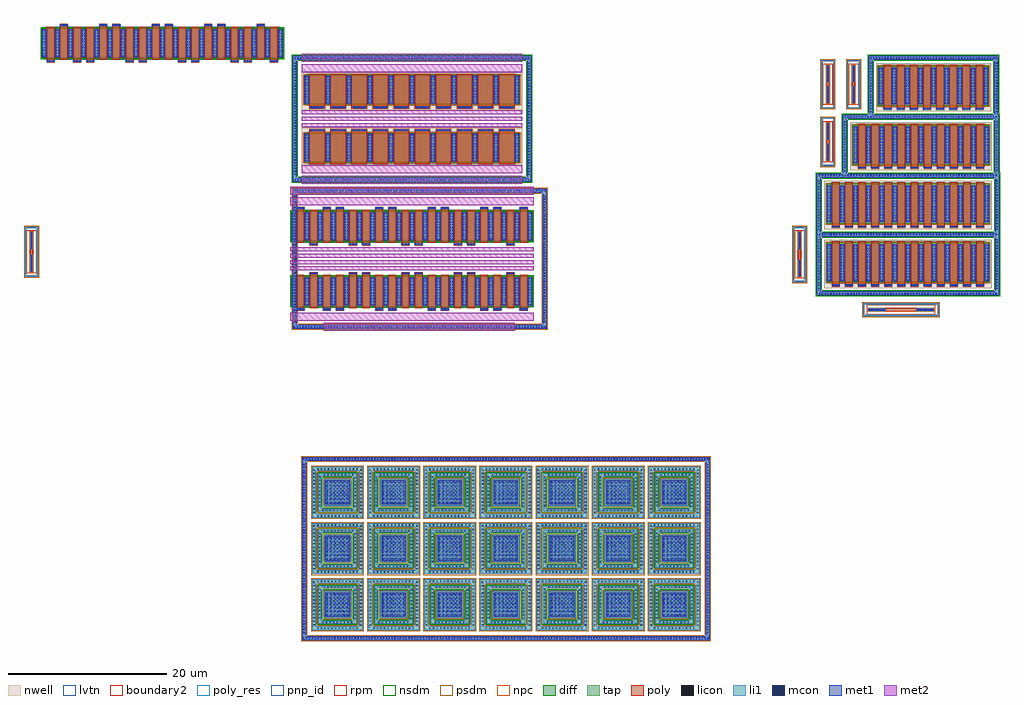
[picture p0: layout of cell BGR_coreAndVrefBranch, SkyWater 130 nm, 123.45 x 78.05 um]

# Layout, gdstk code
from math import pi, radians
import gdstk
lib = gdstk.Library(unit=1e-6, precision=5e-09)
def R(c, l, rs):  # rectangles x0, y0, x1, y1
    for r in rs: c.add(gdstk.rectangle(r[:2], r[2:], *l))
def A(c, l, x, y, w, h, nx, ny, dx, dy):  # array of equal rectangles
    R(c, l, [(x+i*dx, y+j*dy, x+i*dx+w, y+j*dy+h) for i in range(nx) for j in range(ny)])
def P(c, l, *ps):  # polygons
    for p in ps: c.add(gdstk.Polygon(p, *l))
nwell = (64, 20)
diff = (65, 20)
tap = (65, 44)
poly_res = (66, 13)
poly = (66, 20)
licon = (66, 44)
li1 = (67, 20)
mcon = (67, 44)
met1 = (68, 20)
met2 = (69, 20)
pnp_id = (82, 44)
rpm = (86, 20)
nsdm = (93, 44)
psdm = (94, 20)
npc = (95, 20)
lvtn = (125, 44)
boundary2 = (236, 0)

guard_ring_gen_2 = lib.new_cell('guard_ring_gen$2')
P(guard_ring_gen_2, tap, [(-0.5,-0.5),(-0.5,22.15),(0,22.15),(0,0),(50.55,0),(50.55,22.15),(-0.5,22.15),(-0.5,22.65),(51.05,22.65),(51.05,-0.5)])
A(guard_ring_gen_2, licon, -0.37, -0.335, 0.17, 0.17, 143, 2, 0.36, 22.65)
A(guard_ring_gen_2, licon, -0.335, 0.37, 0.17, 0.17, 1, 60, 0, 0.36)
A(guard_ring_gen_2, licon, 50.715, 0.37, 0.17, 0.17, 1, 60, 0, 0.36)
P(guard_ring_gen_2, li1, [(-0.5,-0.5),(-0.5,22.15),(0,22.15),(0,0),(50.55,0),(50.55,22.15),(-0.5,22.15),(-0.5,22.65),(51.05,22.65),(51.05,-0.5)])
A(guard_ring_gen_2, mcon, -0.37, -0.335, 0.17, 0.17, 143, 2, 0.36, 22.65)
A(guard_ring_gen_2, mcon, -0.335, 0.37, 0.17, 0.17, 1, 60, 0, 0.36)
A(guard_ring_gen_2, mcon, 50.715, 0.37, 0.17, 0.17, 1, 60, 0, 0.36)
P(guard_ring_gen_2, met1, [(-0.5,-0.5),(-0.5,22.15),(0,22.15),(0,0),(50.55,0),(50.55,22.15),(-0.5,22.15),(-0.5,22.65),(51.05,22.65),(51.05,-0.5)])
P(guard_ring_gen_2, psdm, [(-0.625,-0.625),(-0.625,22.025),(0.125,22.025),(0.125,0.125),(50.425,0.125),(50.425,22.025),(-0.625,22.025),(-0.625,22.775),(51.175,22.775),(51.175,-0.625)])

pfet_3 = lib.new_cell('pfet$3')
R(pfet_3, nwell, [(-0.305,-0.38,3.625,4.42)])
R(pfet_3, diff, [(0,0,3.32,3.7)])
R(pfet_3, poly, [(0.66,-0.2,2.66,3.9), (0.66,3.9,2.66,4.23)])
A(pfet_3, licon, 0.065, 0.145, 0.17, 0.17, 1, 10, 0, 0.36)
A(pfet_3, licon, 0.425, 0.145, 0.17, 0.17, 1, 10, 0, 0.36)
A(pfet_3, licon, 2.725, 0.145, 0.17, 0.17, 1, 10, 0, 0.36)
A(pfet_3, licon, 3.085, 0.145, 0.17, 0.17, 1, 10, 0, 0.36)
A(pfet_3, licon, 0.855, 3.98, 0.17, 0.17, 5, 1, 0.36, 0)
R(pfet_3, li1, [(0.065,0.065,0.595,3.635), (2.725,0.065,3.255,3.635), (0.775,3.98,2.545,4.15)])
A(pfet_3, mcon, 0.065, 0.145, 0.17, 0.17, 1, 10, 0, 0.36)
A(pfet_3, mcon, 0.425, 0.145, 0.17, 0.17, 1, 10, 0, 0.36)
A(pfet_3, mcon, 2.725, 0.145, 0.17, 0.17, 1, 10, 0, 0.36)
A(pfet_3, mcon, 3.085, 0.145, 0.17, 0.17, 1, 10, 0, 0.36)
A(pfet_3, mcon, 0.855, 3.98, 0.17, 0.17, 5, 1, 0.36, 0)
R(pfet_3, met1, [(0.035,0.085,0.625,3.615), (2.695,0.085,3.285,3.615), (0.795,3.95,2.525,4.18)])
R(pfet_3, psdm, [(-0.125,-0.125,3.445,3.825)])
R(pfet_3, npc, [(0.65,3.89,2.67,4.24)])
R(pfet_3, lvtn, [(0.48,-0.18,2.84,3.88)])

guard_ring_gen_5 = lib.new_cell('guard_ring_gen$5')
P(guard_ring_gen_5, tap, [(-0.5,-0.5),(-0.5,14.915),(0,14.915),(0,0),(29.12,0),(29.12,14.915),(-0.5,14.915),(-0.5,15.415),(29.62,15.415),(29.62,-0.5)])
A(guard_ring_gen_5, licon, -0.285, -0.335, 0.17, 0.17, 83, 2, 0.36, 15.415)
A(guard_ring_gen_5, licon, -0.335, 0.355, 0.17, 0.17, 1, 40, 0, 0.36)
A(guard_ring_gen_5, licon, 29.285, 0.355, 0.17, 0.17, 1, 40, 0, 0.36)
P(guard_ring_gen_5, li1, [(-0.5,-0.5),(-0.5,14.915),(0,14.915),(0,0),(29.12,0),(29.12,14.915),(-0.5,14.915),(-0.5,15.415),(29.62,15.415),(29.62,-0.5)])
A(guard_ring_gen_5, mcon, -0.285, -0.335, 0.17, 0.17, 83, 2, 0.36, 15.415)
A(guard_ring_gen_5, mcon, -0.335, 0.355, 0.17, 0.17, 1, 40, 0, 0.36)
A(guard_ring_gen_5, mcon, 29.285, 0.355, 0.17, 0.17, 1, 40, 0, 0.36)
P(guard_ring_gen_5, met1, [(-0.5,-0.5),(-0.5,14.915),(0,14.915),(0,0),(29.12,0),(29.12,14.915),(-0.5,14.915),(-0.5,15.415),(29.62,15.415),(29.62,-0.5)])
P(guard_ring_gen_5, nsdm, [(-0.625,-0.625),(-0.625,14.79),(0.125,14.79),(0.125,0.125),(28.995,0.125),(28.995,14.79),(-0.625,14.79),(-0.625,15.54),(29.745,15.54),(29.745,-0.625)])

pnp_bjt = lib.new_cell('pnp_bjt')
R(pnp_bjt, nwell, [(0.765,0.765,5.935,5.935)])
R(pnp_bjt, diff, [(1.65,1.65,5.05,5.05)])
P(pnp_bjt, tap, [(0.945,0.945),(0.945,5.755),(5.395,5.755),(5.395,5.395),(1.305,5.395),(1.305,1.305),(5.395,1.305),(5.395,5.755),(5.755,5.755),(5.755,0.945)],
  [(0.13,0.13),(0.13,6.57),(6.065,6.57),(6.065,6.065),(0.635,6.065),(0.635,0.635),(6.065,0.635),(6.065,6.57),(6.57,6.57),(6.57,0.13)])
A(pnp_bjt, licon, 0.78, 0.29, 0.17, 0.17, 12, 2, 0.45, 5.935)
A(pnp_bjt, licon, 0.3, 0.71, 0.17, 0.17, 1, 13, 0, 0.45)
A(pnp_bjt, licon, 6.235, 0.71, 0.17, 0.17, 1, 13, 0, 0.45)
A(pnp_bjt, licon, 1.43, 1.04, 0.17, 0.17, 9, 1, 0.45, 0)
A(pnp_bjt, licon, 5.49, 1.51, 0.17, 0.17, 1, 9, 0, 0.45)
A(pnp_bjt, licon, 1.04, 1.605, 0.17, 0.17, 1, 9, 0, 0.45)
A(pnp_bjt, licon, 1.92, 1.92, 0.17, 0.17, 7, 7, 0.45, 0.45)
A(pnp_bjt, licon, 1.6, 5.49, 0.17, 0.17, 9, 1, 0.45, 0)
A(pnp_bjt, li1, 0.58, 0.21, 0.33, 0.33, 12, 1, 0.45, 0)
A(pnp_bjt, li1, 0.675, 0.24, 0.27, 0.27, 11, 2, 0.5, 5.96)
A(pnp_bjt, li1, 6.16, 0.54, 0.33, 0.33, 1, 13, 0, 0.45)
A(pnp_bjt, li1, 0.22, 0.63, 0.33, 0.33, 1, 13, 0, 0.45)
A(pnp_bjt, li1, 1.35, 0.96, 0.33, 0.33, 9, 1, 0.45, 0)
A(pnp_bjt, li1, 1.14, 0.985, 0.27, 0.27, 9, 1, 0.5, 0)
A(pnp_bjt, li1, 5.41, 1.43, 0.33, 0.33, 1, 9, 0, 0.45)
A(pnp_bjt, li1, 0.96, 1.525, 0.33, 0.33, 1, 9, 0, 0.45)
A(pnp_bjt, li1, 1.84, 1.84, 0.33, 0.33, 7, 7, 0.45, 0.45)
A(pnp_bjt, li1, 1.93, 1.93, 0.27, 0.27, 6, 6, 0.5, 0.5)
A(pnp_bjt, li1, 1.52, 5.41, 0.33, 0.33, 9, 1, 0.45, 0)
A(pnp_bjt, li1, 1.155, 5.44, 0.27, 0.27, 9, 1, 0.5, 0)
A(pnp_bjt, li1, 0.7, 6.165, 0.33, 0.33, 12, 1, 0.45, 0)
R(pnp_bjt, li1, [(1.615,1.615,5.085,5.085), (1.65,1.65,5.05,5.05)])
P(pnp_bjt, li1, [(0.13,0.13),(0.13,6.57),(6.075,6.57),(6.075,6.075),(0.625,6.075),(0.625,0.625),(6.075,0.625),(6.075,6.57),(6.57,6.57),(6.57,0.13)],
  [(0.945,0.945),(0.945,5.755),(5.395,5.755),(5.395,5.395),(1.305,5.395),(1.305,1.305),(5.395,1.305),(5.395,5.755),(5.755,5.755),(5.755,0.945)])
A(pnp_bjt, mcon, 1.98, 1.98, 0.17, 0.17, 6, 6, 0.5, 0.5)
A(pnp_bjt, met1, 1.93, 1.93, 0.27, 0.27, 6, 6, 0.5, 0.5)
R(pnp_bjt, met1, [(1.825,1.825,4.875,4.875)])
R(pnp_bjt, pnp_id, [(0.135,0.135,6.565,6.565)])
P(pnp_bjt, nsdm, [(0.805,0.805),(0.805,5.895),(5.265,5.895),(5.265,5.265),(1.435,5.265),(1.435,1.435),(5.265,1.435),(5.265,5.895),(5.895,5.895),(5.895,0.805)])
R(pnp_bjt, psdm, [(1.52,1.52,5.18,5.18)])
P(pnp_bjt, psdm, [(0,0),(0,6.7),(5.935,6.7),(5.935,5.935),(0.765,5.935),(0.765,0.765),(5.935,0.765),(5.935,6.7),(6.7,6.7),(6.7,0)])
R(pnp_bjt, boundary2, [(0.13,0.13,6.57,6.57)])
pnp_bjt.add(gdstk.Label('Emitter', (3.39,3.39), layer=67, texttype=5))
pnp_bjt.add(gdstk.Label('Collector', (3.32,6.38), layer=67, texttype=5))
pnp_bjt.add(gdstk.Label('Base', (3.245,5.61), layer=67, texttype=5))

nfet = lib.new_cell('nfet')
R(nfet, diff, [(0,0,2.32,3.8)])
R(nfet, poly, [(0.66,-0.53,1.66,-0.2), (0.66,-0.2,1.66,4)])
A(nfet, licon, 0.715, -0.45, 0.17, 0.17, 3, 1, 0.36, 0)
A(nfet, licon, 0.065, 0.195, 0.17, 0.17, 1, 10, 0, 0.36)
A(nfet, licon, 0.425, 0.195, 0.17, 0.17, 1, 10, 0, 0.36)
A(nfet, licon, 1.725, 0.195, 0.17, 0.17, 1, 10, 0, 0.36)
A(nfet, licon, 2.085, 0.195, 0.17, 0.17, 1, 10, 0, 0.36)
R(nfet, li1, [(0.635,-0.45,1.685,-0.28), (0.065,0.115,0.595,3.685), (1.725,0.115,2.255,3.685)])
A(nfet, mcon, 0.715, -0.45, 0.17, 0.17, 3, 1, 0.36, 0)
A(nfet, mcon, 0.065, 0.195, 0.17, 0.17, 1, 10, 0, 0.36)
A(nfet, mcon, 0.425, 0.195, 0.17, 0.17, 1, 10, 0, 0.36)
A(nfet, mcon, 1.725, 0.195, 0.17, 0.17, 1, 10, 0, 0.36)
A(nfet, mcon, 2.085, 0.195, 0.17, 0.17, 1, 10, 0, 0.36)
R(nfet, met1, [(0.655,-0.48,1.665,-0.25), (0.035,0.135,0.625,3.665), (1.695,0.135,2.285,3.665)])
R(nfet, nsdm, [(-0.125,-0.125,2.445,3.925)])
R(nfet, npc, [(0.65,-0.54,1.67,-0.19)])
R(nfet, lvtn, [(0.48,-0.18,1.84,3.98)])

guard_ring_gen_10 = lib.new_cell('guard_ring_gen$10')
P(guard_ring_gen_10, tap, [(-0.5,-0.5),(-0.5,16.715),(0,16.715),(0,0),(31.09,0),(31.09,16.715),(-0.5,16.715),(-0.5,17.215),(31.59,17.215),(31.59,-0.5)])
A(guard_ring_gen_10, licon, -0.38, -0.335, 0.17, 0.17, 89, 2, 0.36, 17.215)
A(guard_ring_gen_10, licon, -0.335, 0.355, 0.17, 0.17, 1, 45, 0, 0.36)
A(guard_ring_gen_10, licon, 31.255, 0.355, 0.17, 0.17, 1, 45, 0, 0.36)
P(guard_ring_gen_10, li1, [(-0.5,-0.5),(-0.5,16.715),(0,16.715),(0,0),(31.09,0),(31.09,16.715),(-0.5,16.715),(-0.5,17.215),(31.59,17.215),(31.59,-0.5)])
A(guard_ring_gen_10, mcon, -0.38, -0.335, 0.17, 0.17, 89, 2, 0.36, 17.215)
A(guard_ring_gen_10, mcon, -0.335, 0.355, 0.17, 0.17, 1, 45, 0, 0.36)
A(guard_ring_gen_10, mcon, 31.255, 0.355, 0.17, 0.17, 1, 45, 0, 0.36)
P(guard_ring_gen_10, met1, [(-0.5,-0.5),(-0.5,16.715),(0,16.715),(0,0),(31.09,0),(31.09,16.715),(-0.5,16.715),(-0.5,17.215),(31.59,17.215),(31.59,-0.5)])
P(guard_ring_gen_10, psdm, [(-0.625,-0.625),(-0.625,16.59),(0.125,16.59),(0.125,0.125),(30.965,0.125),(30.965,16.59),(-0.625,16.59),(-0.625,17.34),(31.715,17.34),(31.715,-0.625)])

pfet = lib.new_cell('pfet')
R(pfet, nwell, [(-0.305,-0.38,2.625,5.72)])
R(pfet, diff, [(0,0,2.32,5)])
R(pfet, poly, [(0.66,-0.2,1.66,5.2), (0.66,5.2,1.66,5.53)])
A(pfet, licon, 0.065, 0.255, 0.17, 0.17, 1, 13, 0, 0.36)
A(pfet, licon, 0.425, 0.255, 0.17, 0.17, 1, 13, 0, 0.36)
A(pfet, licon, 1.725, 0.255, 0.17, 0.17, 1, 13, 0, 0.36)
A(pfet, licon, 2.085, 0.255, 0.17, 0.17, 1, 13, 0, 0.36)
A(pfet, licon, 0.715, 5.28, 0.17, 0.17, 3, 1, 0.36, 0)
R(pfet, li1, [(0.065,0.175,0.595,4.825), (1.725,0.175,2.255,4.825), (0.635,5.28,1.685,5.45)])
A(pfet, mcon, 0.065, 0.255, 0.17, 0.17, 1, 13, 0, 0.36)
A(pfet, mcon, 0.425, 0.255, 0.17, 0.17, 1, 13, 0, 0.36)
A(pfet, mcon, 1.725, 0.255, 0.17, 0.17, 1, 13, 0, 0.36)
A(pfet, mcon, 2.085, 0.255, 0.17, 0.17, 1, 13, 0, 0.36)
A(pfet, mcon, 0.715, 5.28, 0.17, 0.17, 3, 1, 0.36, 0)
R(pfet, met1, [(0.035,0.195,0.625,4.805), (1.695,0.195,2.285,4.805), (0.655,5.25,1.665,5.48)])
R(pfet, psdm, [(-0.125,-0.125,2.445,5.125)])
R(pfet, npc, [(0.65,5.19,1.67,5.54)])
R(pfet, lvtn, [(0.48,-0.18,1.84,5.18)])

guard_ring_gen_8 = lib.new_cell('guard_ring_gen$8')
P(guard_ring_gen_8, tap, [(-0.5,-0.5),(-0.5,6.95),(0,6.95),(0,0),(22.04,0),(22.04,6.95),(-0.5,6.95),(-0.5,7.45),(22.54,7.45),(22.54,-0.5)])
A(guard_ring_gen_8, licon, -0.225, -0.335, 0.17, 0.17, 63, 2, 0.36, 7.45)
A(guard_ring_gen_8, licon, -0.335, 0.33, 0.17, 0.17, 1, 18, 0, 0.36)
A(guard_ring_gen_8, licon, 22.205, 0.33, 0.17, 0.17, 1, 18, 0, 0.36)
P(guard_ring_gen_8, li1, [(-0.5,-0.5),(-0.5,6.95),(0,6.95),(0,0),(22.04,0),(22.04,6.95),(-0.5,6.95),(-0.5,7.45),(22.54,7.45),(22.54,-0.5)])
A(guard_ring_gen_8, mcon, -0.225, -0.335, 0.17, 0.17, 63, 2, 0.36, 7.45)
A(guard_ring_gen_8, mcon, -0.335, 0.33, 0.17, 0.17, 1, 18, 0, 0.36)
A(guard_ring_gen_8, mcon, 22.205, 0.33, 0.17, 0.17, 1, 18, 0, 0.36)
P(guard_ring_gen_8, met1, [(-0.5,-0.5),(-0.5,6.95),(0,6.95),(0,0),(22.04,0),(22.04,6.95),(-0.5,6.95),(-0.5,7.45),(22.54,7.45),(22.54,-0.5)])
P(guard_ring_gen_8, nsdm, [(-0.625,-0.625),(-0.625,6.825),(0.125,6.825),(0.125,0.125),(21.915,0.125),(21.915,6.825),(-0.625,6.825),(-0.625,7.575),(22.665,7.575),(22.665,-0.625)])

res_poly_3 = lib.new_cell('res_poly$3')
R(res_poly_3, tap, [(-0.825,-3.06,0.825,-2.89), (-0.825,-2.89,-0.655,2.89), (0.655,-2.89,0.825,2.89), (-0.825,2.89,0.825,3.06)])
R(res_poly_3, poly_res, [(-0.175,-0.31,0.175,0.31)])
R(res_poly_3, poly, [(-0.175,-2.41,0.175,2.41)])
A(res_poly_3, licon, -0.825, -2.295, 0.17, 0.17, 1, 14, 0, 0.34)
A(res_poly_3, licon, 0.655, -2.295, 0.17, 0.17, 1, 14, 0, 0.34)
R(res_poly_3, licon, [(-0.255,-3.06,-0.085,-2.89), (0.085,-3.06,0.255,-2.89), (-0.095,-2.33,0.095,-0.33), (-0.095,0.33,0.095,2.33), (-0.255,2.89,-0.085,3.06), (0.085,2.89,0.255,3.06)])
R(res_poly_3, li1, [(-0.825,-3.06,0.825,-2.89), (-0.825,-2.89,-0.655,2.89), (0.655,-2.89,0.825,2.89), (-0.175,-2.41,0.175,-0.25), (-0.175,0.25,0.175,2.41), (-0.825,2.89,0.825,3.06)])
A(res_poly_3, mcon, -0.085, -2.31, 0.17, 0.17, 1, 6, 0, 0.36)
A(res_poly_3, mcon, -0.085, 0.345, 0.17, 0.17, 1, 6, 0, 0.36)
R(res_poly_3, met1, [(-0.125,-2.38,0.125,-0.275), (-0.125,0.275,0.125,2.38)])
R(res_poly_3, rpm, [(-0.635,-2.61,0.635,2.61)])
R(res_poly_3, psdm, [(-0.95,-3.185,0.95,3.185)])
R(res_poly_3, npc, [(-0.27,-2.505,0.27,2.505)])

guard_ring_gen_4 = lib.new_cell('guard_ring_gen$4')
P(guard_ring_gen_4, tap, [(-0.5,-0.5),(-0.5,6.95),(0,6.95),(0,0),(15.4,0),(15.4,6.95),(-0.5,6.95),(-0.5,7.45),(15.9,7.45),(15.9,-0.5)])
A(guard_ring_gen_4, licon, -0.305, -0.335, 0.17, 0.17, 45, 2, 0.36, 7.45)
A(guard_ring_gen_4, licon, -0.335, 0.33, 0.17, 0.17, 1, 18, 0, 0.36)
A(guard_ring_gen_4, licon, 15.565, 0.33, 0.17, 0.17, 1, 18, 0, 0.36)
P(guard_ring_gen_4, li1, [(-0.5,-0.5),(-0.5,6.95),(0,6.95),(0,0),(15.4,0),(15.4,6.95),(-0.5,6.95),(-0.5,7.45),(15.9,7.45),(15.9,-0.5)])
A(guard_ring_gen_4, mcon, -0.305, -0.335, 0.17, 0.17, 45, 2, 0.36, 7.45)
A(guard_ring_gen_4, mcon, -0.335, 0.33, 0.17, 0.17, 1, 18, 0, 0.36)
A(guard_ring_gen_4, mcon, 15.565, 0.33, 0.17, 0.17, 1, 18, 0, 0.36)
P(guard_ring_gen_4, met1, [(-0.5,-0.5),(-0.5,6.95),(0,6.95),(0,0),(15.4,0),(15.4,6.95),(-0.5,6.95),(-0.5,7.45),(15.9,7.45),(15.9,-0.5)])
P(guard_ring_gen_4, nsdm, [(-0.625,-0.625),(-0.625,6.825),(0.125,6.825),(0.125,0.125),(15.275,0.125),(15.275,6.825),(-0.625,6.825),(-0.625,7.575),(16.025,7.575),(16.025,-0.625)])

guard_ring_gen = lib.new_cell('guard_ring_gen')
P(guard_ring_gen, tap, [(-0.5,-0.5),(-0.5,6.95),(0,6.95),(0,0),(18.72,0),(18.72,6.95),(-0.5,6.95),(-0.5,7.45),(19.22,7.45),(19.22,-0.5)])
A(guard_ring_gen, licon, -0.265, -0.335, 0.17, 0.17, 54, 2, 0.36, 7.45)
A(guard_ring_gen, licon, -0.335, 0.33, 0.17, 0.17, 1, 18, 0, 0.36)
A(guard_ring_gen, licon, 18.885, 0.33, 0.17, 0.17, 1, 18, 0, 0.36)
P(guard_ring_gen, li1, [(-0.5,-0.5),(-0.5,6.95),(0,6.95),(0,0),(18.72,0),(18.72,6.95),(-0.5,6.95),(-0.5,7.45),(19.22,7.45),(19.22,-0.5)])
A(guard_ring_gen, mcon, -0.265, -0.335, 0.17, 0.17, 54, 2, 0.36, 7.45)
A(guard_ring_gen, mcon, -0.335, 0.33, 0.17, 0.17, 1, 18, 0, 0.36)
A(guard_ring_gen, mcon, 18.885, 0.33, 0.17, 0.17, 1, 18, 0, 0.36)
P(guard_ring_gen, met1, [(-0.5,-0.5),(-0.5,6.95),(0,6.95),(0,0),(18.72,0),(18.72,6.95),(-0.5,6.95),(-0.5,7.45),(19.22,7.45),(19.22,-0.5)])
P(guard_ring_gen, nsdm, [(-0.625,-0.625),(-0.625,6.825),(0.125,6.825),(0.125,0.125),(18.595,0.125),(18.595,6.825),(-0.625,6.825),(-0.625,7.575),(19.345,7.575),(19.345,-0.625)])

res_poly_4 = lib.new_cell('res_poly$4')
R(res_poly_4, tap, [(-0.825,-4.8,0.825,-4.63), (-0.825,-4.63,-0.655,4.63), (0.655,-4.63,0.825,4.63), (-0.825,4.63,0.825,4.8)])
R(res_poly_4, poly_res, [(-0.175,-2.05,0.175,2.05)])
R(res_poly_4, poly, [(-0.175,-4.15,0.175,4.15)])
A(res_poly_4, licon, -0.825, -3.995, 0.17, 0.17, 1, 24, 0, 0.34)
A(res_poly_4, licon, 0.655, -3.995, 0.17, 0.17, 1, 24, 0, 0.34)
R(res_poly_4, licon, [(-0.255,-4.8,-0.085,-4.63), (0.085,-4.8,0.255,-4.63), (-0.095,-4.07,0.095,-2.07), (-0.095,2.07,0.095,4.07), (-0.255,4.63,-0.085,4.8), (0.085,4.63,0.255,4.8)])
R(res_poly_4, li1, [(-0.825,-4.8,0.825,-4.63), (-0.825,-4.63,-0.655,4.63), (0.655,-4.63,0.825,4.63), (-0.175,-4.15,0.175,-1.99), (-0.175,1.99,0.175,4.15), (-0.825,4.63,0.825,4.8)])
A(res_poly_4, mcon, -0.085, -4.05, 0.17, 0.17, 1, 6, 0, 0.36)
A(res_poly_4, mcon, -0.085, 2.085, 0.17, 0.17, 1, 6, 0, 0.36)
R(res_poly_4, met1, [(-0.125,-4.12,0.125,-2.015), (-0.125,2.015,0.125,4.12)])
R(res_poly_4, rpm, [(-0.635,-4.35,0.635,4.35)])
R(res_poly_4, psdm, [(-0.95,-4.925,0.95,4.925)])
R(res_poly_4, npc, [(-0.27,-4.245,0.27,4.245)])

nfet_1 = lib.new_cell('nfet$1')
R(nfet_1, diff, [(0,0,2.32,3.8)])
R(nfet_1, poly, [(0.66,-0.2,1.66,4), (0.66,4,1.66,4.33)])
A(nfet_1, licon, 0.065, 0.195, 0.17, 0.17, 1, 10, 0, 0.36)
A(nfet_1, licon, 0.425, 0.195, 0.17, 0.17, 1, 10, 0, 0.36)
A(nfet_1, licon, 1.725, 0.195, 0.17, 0.17, 1, 10, 0, 0.36)
A(nfet_1, licon, 2.085, 0.195, 0.17, 0.17, 1, 10, 0, 0.36)
A(nfet_1, licon, 0.715, 4.08, 0.17, 0.17, 3, 1, 0.36, 0)
R(nfet_1, li1, [(0.065,0.115,0.595,3.685), (1.725,0.115,2.255,3.685), (0.635,4.08,1.685,4.25)])
A(nfet_1, mcon, 0.065, 0.195, 0.17, 0.17, 1, 10, 0, 0.36)
A(nfet_1, mcon, 0.425, 0.195, 0.17, 0.17, 1, 10, 0, 0.36)
A(nfet_1, mcon, 1.725, 0.195, 0.17, 0.17, 1, 10, 0, 0.36)
A(nfet_1, mcon, 2.085, 0.195, 0.17, 0.17, 1, 10, 0, 0.36)
A(nfet_1, mcon, 0.715, 4.08, 0.17, 0.17, 3, 1, 0.36, 0)
R(nfet_1, met1, [(0.035,0.135,0.625,3.665), (1.695,0.135,2.285,3.665), (0.655,4.05,1.665,4.28)])
R(nfet_1, nsdm, [(-0.125,-0.125,2.445,3.925)])
R(nfet_1, npc, [(0.65,3.99,1.67,4.34)])
R(nfet_1, lvtn, [(0.48,-0.18,1.84,3.98)])

res_poly = lib.new_cell('res_poly')
R(res_poly, tap, [(-0.825,-3.49,0.825,-3.32), (-0.825,-3.32,-0.655,3.32), (0.655,-3.32,0.825,3.32), (-0.825,3.32,0.825,3.49)])
R(res_poly, poly_res, [(-0.175,-0.74,0.175,0.74)])
R(res_poly, poly, [(-0.175,-2.84,0.175,2.84)])
A(res_poly, licon, -0.825, -2.635, 0.17, 0.17, 1, 16, 0, 0.34)
A(res_poly, licon, 0.655, -2.635, 0.17, 0.17, 1, 16, 0, 0.34)
R(res_poly, licon, [(-0.255,-3.49,-0.085,-3.32), (0.085,-3.49,0.255,-3.32), (-0.095,-2.76,0.095,-0.76), (-0.095,0.76,0.095,2.76), (-0.255,3.32,-0.085,3.49), (0.085,3.32,0.255,3.49)])
R(res_poly, li1, [(-0.825,-3.49,0.825,-3.32), (-0.825,-3.32,-0.655,3.32), (0.655,-3.32,0.825,3.32), (-0.175,-2.84,0.175,-0.68), (-0.175,0.68,0.175,2.84), (-0.825,3.32,0.825,3.49)])
A(res_poly, mcon, -0.085, -2.74, 0.17, 0.17, 1, 6, 0, 0.36)
A(res_poly, mcon, -0.085, 0.775, 0.17, 0.17, 1, 6, 0, 0.36)
R(res_poly, met1, [(-0.125,-2.81,0.125,-0.705), (-0.125,0.705,0.125,2.81)])
R(res_poly, rpm, [(-0.635,-3.04,0.635,3.04)])
R(res_poly, psdm, [(-0.95,-3.615,0.95,3.615)])
R(res_poly, npc, [(-0.27,-2.935,0.27,2.935)])

res_poly_6 = lib.new_cell('res_poly$6')
R(res_poly_6, tap, [(-0.825,-3.16,0.825,-2.99), (-0.825,-2.99,-0.655,2.99), (0.655,-2.99,0.825,2.99), (-0.825,2.99,0.825,3.16)])
R(res_poly_6, poly_res, [(-0.175,-0.41,0.175,0.41)])
R(res_poly_6, poly, [(-0.175,-2.51,0.175,2.51)])
A(res_poly_6, licon, -0.825, -2.295, 0.17, 0.17, 1, 14, 0, 0.34)
A(res_poly_6, licon, 0.655, -2.295, 0.17, 0.17, 1, 14, 0, 0.34)
R(res_poly_6, licon, [(-0.255,-3.16,-0.085,-2.99), (0.085,-3.16,0.255,-2.99), (-0.095,-2.43,0.095,-0.43), (-0.095,0.43,0.095,2.43), (-0.255,2.99,-0.085,3.16), (0.085,2.99,0.255,3.16)])
R(res_poly_6, li1, [(-0.825,-3.16,0.825,-2.99), (-0.825,-2.99,-0.655,2.99), (0.655,-2.99,0.825,2.99), (-0.175,-2.51,0.175,-0.35), (-0.175,0.35,0.175,2.51), (-0.825,2.99,0.825,3.16)])
A(res_poly_6, mcon, -0.085, -2.41, 0.17, 0.17, 1, 6, 0, 0.36)
A(res_poly_6, mcon, -0.085, 0.445, 0.17, 0.17, 1, 6, 0, 0.36)
R(res_poly_6, met1, [(-0.125,-2.48,0.125,-0.375), (-0.125,0.375,0.125,2.48)])
R(res_poly_6, rpm, [(-0.635,-2.71,0.635,2.71)])
R(res_poly_6, psdm, [(-0.95,-3.285,0.95,3.285)])
R(res_poly_6, npc, [(-0.27,-2.605,0.27,2.605)])

bgr_coreandvrefbranch = lib.new_cell('BGR_coreAndVrefBranch')
A(bgr_coreandvrefbranch, lvtn, 141.13, 161.245, 12.98, 5.36, 1, 3, 0, 7.45)
A(bgr_coreandvrefbranch, lvtn, 147.77, 161.245, 6.34, 5.36, 1, 3, 0, 7.45)
R(bgr_coreandvrefbranch, lvtn, [(66.79,158.2,96.37,162.36), (134.49,161.245,154.11,166.605), (66.79,166.455,96.37,170.615), (134.49,168.695,154.11,174.055), (137.81,176.145,154.11,181.505), (68.42,176.415,94.72,180.475), (141.05,183.595,154.03,188.955), (147.69,183.595,154.03,188.955), (68.42,183.77,94.72,187.83), (35.21,189.595,64.79,193.755)])
bgr_coreandvrefbranch.add(gdstk.FlexPath([(96.965,171.715),(66.185,171.715)], 1, ends="flush", simple_path=True, layer=69, datatype=20))  # met2
bgr_coreandvrefbranch.add(gdstk.FlexPath([(96.975,165.605),(66.185,165.605)], 0.5, ends="flush", simple_path=True, layer=69, datatype=20))  # met2
bgr_coreandvrefbranch.add(gdstk.FlexPath([(96.975,164.805),(66.175,164.805)], 0.5, ends="flush", simple_path=True, layer=69, datatype=20))  # met2
bgr_coreandvrefbranch.add(gdstk.FlexPath([(96.975,164.005),(66.175,164.005)], 0.5, ends="flush", simple_path=True, layer=69, datatype=20))  # met2
bgr_coreandvrefbranch.add(gdstk.FlexPath([(96.985,163.21),(66.175,163.21)], 0.5, ends="flush", simple_path=True, layer=69, datatype=20))  # met2
bgr_coreandvrefbranch.add(gdstk.FlexPath([(96.975,157.1),(66.185,157.1)], 1, ends="flush", simple_path=True, layer=69, datatype=20))  # met2
bgr_coreandvrefbranch.add(gdstk.FlexPath([(96.965,173.015),(66.185,173.015)], 1, ends="flush", simple_path=True, layer=69, datatype=20))  # met2
bgr_coreandvrefbranch.add(gdstk.FlexPath([(94.565,155.8),(70.41,155.8)], 1, ends="flush", simple_path=True, layer=69, datatype=20))  # met2
bgr_coreandvrefbranch.add(gdstk.FlexPath([(95.505,182.925),(67.635,182.925)], 0.5, ends="flush", simple_path=True, layer=69, datatype=20))  # met2
bgr_coreandvrefbranch.add(gdstk.FlexPath([(95.505,182.125),(67.635,182.125)], 0.5, ends="flush", simple_path=True, layer=69, datatype=20))  # met2
bgr_coreandvrefbranch.add(gdstk.FlexPath([(95.505,175.715),(67.635,175.715)], 1, ends="flush", simple_path=True, layer=69, datatype=20))  # met2
bgr_coreandvrefbranch.add(gdstk.FlexPath([(95.505,181.325),(67.635,181.325)], 0.5, ends="flush", simple_path=True, layer=69, datatype=20))  # met2
bgr_coreandvrefbranch.add(gdstk.FlexPath([(95.505,174.415),(67.635,174.415)], 1, ends="flush", simple_path=True, layer=69, datatype=20))  # met2
bgr_coreandvrefbranch.add(gdstk.FlexPath([(95.505,188.53),(67.635,188.53)], 1, ends="flush", simple_path=True, layer=69, datatype=20))  # met2
bgr_coreandvrefbranch.add(gdstk.FlexPath([(95.505,189.83),(67.635,189.83)], 1, ends="flush", simple_path=True, layer=69, datatype=20))  # met2
bgr_coreandvrefbranch.add(gdstk.Reference(guard_ring_gen_2, (68.175,116.695)))
bgr_coreandvrefbranch.add(gdstk.Reference(pfet_3, (91.88,176.595)))
bgr_coreandvrefbranch.add(gdstk.Reference(pfet_3, (91.88,187.65), x_reflection=True))
bgr_coreandvrefbranch.add(gdstk.Reference(guard_ring_gen_5, (67.01,174.665)))
bgr_coreandvrefbranch.add(gdstk.Reference(pnp_bjt, (90.1,131.52)))
bgr_coreandvrefbranch.add(gdstk.Reference(pnp_bjt, (90.1,117.32)))
bgr_coreandvrefbranch.add(gdstk.Reference(pnp_bjt, (90.1,124.42)))
bgr_coreandvrefbranch.add(gdstk.Reference(nfet, (92.87,166.635)))
bgr_coreandvrefbranch.add(gdstk.Reference(nfet, (92.87,162.18), x_reflection=True))
bgr_coreandvrefbranch.add(gdstk.Reference(guard_ring_gen_10, (67.01,156.05)))
bgr_coreandvrefbranch.add(gdstk.Reference(pfet, (139.65,166.425), rotation=pi))
bgr_coreandvrefbranch.add(gdstk.Reference(pfet, (141.31,166.425), rotation=pi))
bgr_coreandvrefbranch.add(gdstk.Reference(pfet, (146.29,166.425), rotation=pi))
bgr_coreandvrefbranch.add(gdstk.Reference(pfet, (154.59,166.425), rotation=pi))
bgr_coreandvrefbranch.add(gdstk.Reference(pfet, (152.93,166.425), rotation=pi))
bgr_coreandvrefbranch.add(gdstk.Reference(pfet, (151.27,166.425), rotation=pi))
bgr_coreandvrefbranch.add(gdstk.Reference(pfet, (147.95,166.425), rotation=pi))
bgr_coreandvrefbranch.add(gdstk.Reference(pfet, (149.61,166.425), rotation=pi))
bgr_coreandvrefbranch.add(gdstk.Reference(pfet, (142.97,166.425), rotation=pi))
bgr_coreandvrefbranch.add(gdstk.Reference(pfet, (144.63,166.425), rotation=pi))
bgr_coreandvrefbranch.add(gdstk.Reference(guard_ring_gen_8, (155.32,160.28), rotation=pi, x_reflection=True))
bgr_coreandvrefbranch.add(gdstk.Reference(pfet, (146.21,188.775), rotation=pi))
bgr_coreandvrefbranch.add(gdstk.Reference(pfet, (147.87,188.775), rotation=pi))
bgr_coreandvrefbranch.add(gdstk.Reference(res_poly_3, (134.185,179.21)))
bgr_coreandvrefbranch.add(gdstk.Reference(pfet, (152.85,188.775), rotation=pi))
bgr_coreandvrefbranch.add(gdstk.Reference(pfet, (154.51,188.775), rotation=pi))
bgr_coreandvrefbranch.add(gdstk.Reference(pfet, (151.19,188.775), rotation=pi))
bgr_coreandvrefbranch.add(gdstk.Reference(guard_ring_gen_4, (155.24,182.63), rotation=pi, x_reflection=True))
bgr_coreandvrefbranch.add(gdstk.Reference(res_poly_3, (134.185,186.485)))
bgr_coreandvrefbranch.add(gdstk.Reference(res_poly_3, (137.42,186.485)))
bgr_coreandvrefbranch.add(gdstk.Reference(pfet, (149.53,188.775), rotation=pi))
bgr_coreandvrefbranch.add(gdstk.Reference(pfet, (142.89,188.775), rotation=pi))
bgr_coreandvrefbranch.add(gdstk.Reference(pfet, (152.93,173.875), rotation=pi))
bgr_coreandvrefbranch.add(gdstk.Reference(pfet, (151.27,173.875), rotation=pi))
bgr_coreandvrefbranch.add(gdstk.Reference(pfet, (147.95,173.875), rotation=pi))
bgr_coreandvrefbranch.add(gdstk.Reference(pfet, (149.61,173.875), rotation=pi))
bgr_coreandvrefbranch.add(gdstk.Reference(pfet, (142.97,173.875), rotation=pi))
bgr_coreandvrefbranch.add(gdstk.Reference(pfet, (144.63,173.875), rotation=pi))
bgr_coreandvrefbranch.add(gdstk.Reference(pfet, (137.99,173.875), rotation=pi))
bgr_coreandvrefbranch.add(gdstk.Reference(pfet, (136.33,173.875), rotation=pi))
bgr_coreandvrefbranch.add(gdstk.Reference(pfet, (139.65,173.875), rotation=pi))
bgr_coreandvrefbranch.add(gdstk.Reference(pfet, (141.31,173.875), rotation=pi))
bgr_coreandvrefbranch.add(gdstk.Reference(pfet, (146.29,173.875), rotation=pi))
bgr_coreandvrefbranch.add(gdstk.Reference(pfet, (154.59,173.875), rotation=pi))
bgr_coreandvrefbranch.add(gdstk.Reference(guard_ring_gen_8, (155.32,167.73), rotation=pi, x_reflection=True))
bgr_coreandvrefbranch.add(gdstk.Reference(pfet, (154.59,181.325), rotation=pi))
bgr_coreandvrefbranch.add(gdstk.Reference(pfet, (141.31,181.325), rotation=pi))
bgr_coreandvrefbranch.add(gdstk.Reference(pfet, (139.65,181.325), rotation=pi))
bgr_coreandvrefbranch.add(gdstk.Reference(pfet, (149.61,181.325), rotation=pi))
bgr_coreandvrefbranch.add(gdstk.Reference(pfet, (142.97,181.325), rotation=pi))
bgr_coreandvrefbranch.add(gdstk.Reference(pfet, (144.63,181.325), rotation=pi))
bgr_coreandvrefbranch.add(gdstk.Reference(pfet, (146.29,181.325), rotation=pi))
bgr_coreandvrefbranch.add(gdstk.Reference(pfet, (147.95,181.325), rotation=pi))
bgr_coreandvrefbranch.add(gdstk.Reference(pfet, (152.93,181.325), rotation=pi))
bgr_coreandvrefbranch.add(gdstk.Reference(pfet, (151.27,181.325), rotation=pi))
bgr_coreandvrefbranch.add(gdstk.Reference(guard_ring_gen, (155.28,175.18), rotation=pi, x_reflection=True))
bgr_coreandvrefbranch.add(gdstk.Reference(pfet, (144.55,188.775), rotation=pi))
bgr_coreandvrefbranch.add(gdstk.Reference(res_poly_4, (143.42,157.975), rotation=pi/2, x_reflection=True))
bgr_coreandvrefbranch.add(gdstk.Reference(pfet, (137.99,166.425), rotation=pi))
bgr_coreandvrefbranch.add(gdstk.Reference(nfet_1, (94.53,166.635)))
bgr_coreandvrefbranch.add(gdstk.Reference(pfet, (136.33,166.425), rotation=pi))
bgr_coreandvrefbranch.add(gdstk.Reference(nfet_1, (94.53,162.18), x_reflection=True))
bgr_coreandvrefbranch.add(gdstk.Reference(res_poly, (130.6,164.965)))
bgr_coreandvrefbranch.add(gdstk.Reference(nfet, (41.37,193.575), x_reflection=True))
bgr_coreandvrefbranch.add(gdstk.Reference(nfet, (43.03,193.575), x_reflection=True))
bgr_coreandvrefbranch.add(gdstk.Reference(nfet_1, (44.69,193.575), x_reflection=True))
bgr_coreandvrefbranch.add(gdstk.Reference(nfet_1, (46.35,193.575), x_reflection=True))
bgr_coreandvrefbranch.add(gdstk.Reference(nfet, (48.01,193.575), x_reflection=True))
bgr_coreandvrefbranch.add(gdstk.Reference(nfet, (49.67,193.575), x_reflection=True))
bgr_coreandvrefbranch.add(gdstk.Reference(nfet_1, (51.33,193.575), x_reflection=True))
bgr_coreandvrefbranch.add(gdstk.Reference(nfet_1, (52.99,193.575), x_reflection=True))
bgr_coreandvrefbranch.add(gdstk.Reference(nfet, (54.65,193.575), x_reflection=True))
bgr_coreandvrefbranch.add(gdstk.Reference(nfet, (67.97,166.635)))
bgr_coreandvrefbranch.add(gdstk.Reference(pfet_3, (73.26,187.65), x_reflection=True))
bgr_coreandvrefbranch.add(gdstk.Reference(pfet_3, (75.92,187.65), x_reflection=True))
bgr_coreandvrefbranch.add(gdstk.Reference(pfet_3, (86.56,176.595)))
bgr_coreandvrefbranch.add(gdstk.Reference(pfet_3, (67.94,187.65), x_reflection=True))
bgr_coreandvrefbranch.add(gdstk.Reference(nfet_1, (71.29,166.635)))
bgr_coreandvrefbranch.add(gdstk.Reference(nfet, (72.95,166.635)))
bgr_coreandvrefbranch.add(gdstk.Reference(pfet_3, (86.56,187.65), x_reflection=True))
bgr_coreandvrefbranch.add(gdstk.Reference(nfet, (74.61,166.635)))
bgr_coreandvrefbranch.add(gdstk.Reference(nfet_1, (76.27,166.635)))
bgr_coreandvrefbranch.add(gdstk.Reference(nfet_1, (77.93,166.635)))
bgr_coreandvrefbranch.add(gdstk.Reference(nfet, (79.59,166.635)))
bgr_coreandvrefbranch.add(gdstk.Reference(nfet, (81.25,166.635)))
bgr_coreandvrefbranch.add(gdstk.Reference(nfet_1, (82.91,166.635)))
bgr_coreandvrefbranch.add(gdstk.Reference(nfet_1, (84.57,166.635)))
bgr_coreandvrefbranch.add(gdstk.Reference(nfet, (86.23,166.635)))
bgr_coreandvrefbranch.add(gdstk.Reference(pfet_3, (78.58,187.65), x_reflection=True))
bgr_coreandvrefbranch.add(gdstk.Reference(pfet_3, (89.22,187.65), x_reflection=True))
bgr_coreandvrefbranch.add(gdstk.Reference(nfet, (87.89,166.635)))
bgr_coreandvrefbranch.add(gdstk.Reference(nfet_1, (89.55,166.635)))
bgr_coreandvrefbranch.add(gdstk.Reference(res_poly_6, (33.45,165.295)))
bgr_coreandvrefbranch.add(gdstk.Reference(pfet_3, (89.22,176.595)))
bgr_coreandvrefbranch.add(gdstk.Reference(pfet_3, (81.24,187.65), x_reflection=True))
bgr_coreandvrefbranch.add(gdstk.Reference(pfet_3, (83.9,187.65), x_reflection=True))
bgr_coreandvrefbranch.add(gdstk.Reference(pfet_3, (83.9,176.595)))
bgr_coreandvrefbranch.add(gdstk.Reference(pfet_3, (81.24,176.595)))
bgr_coreandvrefbranch.add(gdstk.Reference(pfet_3, (78.58,176.595)))
bgr_coreandvrefbranch.add(gdstk.Reference(pfet_3, (75.92,176.595)))
bgr_coreandvrefbranch.add(gdstk.Reference(pfet_3, (73.26,176.595)))
bgr_coreandvrefbranch.add(gdstk.Reference(pfet_3, (70.6,176.595)))
bgr_coreandvrefbranch.add(gdstk.Reference(pfet_3, (67.94,176.595)))
bgr_coreandvrefbranch.add(gdstk.Reference(pfet_3, (70.6,187.65), x_reflection=True))
bgr_coreandvrefbranch.add(gdstk.Reference(nfet, (36.39,193.575), x_reflection=True))
bgr_coreandvrefbranch.add(gdstk.Reference(nfet_1, (34.73,193.575), x_reflection=True))
bgr_coreandvrefbranch.add(gdstk.Reference(nfet_1, (38.05,193.575), x_reflection=True))
bgr_coreandvrefbranch.add(gdstk.Reference(nfet_1, (91.21,166.635)))
bgr_coreandvrefbranch.add(gdstk.Reference(nfet, (56.31,193.575), x_reflection=True))
bgr_coreandvrefbranch.add(gdstk.Reference(nfet_1, (57.97,193.575), x_reflection=True))
bgr_coreandvrefbranch.add(gdstk.Reference(nfet, (61.29,193.575), x_reflection=True))
bgr_coreandvrefbranch.add(gdstk.Reference(nfet_1, (62.95,193.575), x_reflection=True))
bgr_coreandvrefbranch.add(gdstk.Reference(nfet_1, (59.63,193.575), x_reflection=True))
bgr_coreandvrefbranch.add(gdstk.Reference(nfet, (67.97,162.18), x_reflection=True))
bgr_coreandvrefbranch.add(gdstk.Reference(nfet_1, (66.31,162.18), x_reflection=True))
bgr_coreandvrefbranch.add(gdstk.Reference(nfet_1, (69.63,162.18), x_reflection=True))
bgr_coreandvrefbranch.add(gdstk.Reference(nfet_1, (71.29,162.18), x_reflection=True))
bgr_coreandvrefbranch.add(gdstk.Reference(nfet, (72.95,162.18), x_reflection=True))
bgr_coreandvrefbranch.add(gdstk.Reference(nfet, (74.61,162.18), x_reflection=True))
bgr_coreandvrefbranch.add(gdstk.Reference(nfet_1, (76.27,162.18), x_reflection=True))
bgr_coreandvrefbranch.add(gdstk.Reference(nfet_1, (77.93,162.18), x_reflection=True))
bgr_coreandvrefbranch.add(gdstk.Reference(nfet, (79.59,162.18), x_reflection=True))
bgr_coreandvrefbranch.add(gdstk.Reference(nfet, (81.25,162.18), x_reflection=True))
bgr_coreandvrefbranch.add(gdstk.Reference(nfet_1, (82.91,162.18), x_reflection=True))
bgr_coreandvrefbranch.add(gdstk.Reference(nfet_1, (84.57,162.18), x_reflection=True))
bgr_coreandvrefbranch.add(gdstk.Reference(nfet, (86.23,162.18), x_reflection=True))
bgr_coreandvrefbranch.add(gdstk.Reference(nfet, (87.89,162.18), x_reflection=True))
bgr_coreandvrefbranch.add(gdstk.Reference(nfet_1, (89.55,162.18), x_reflection=True))
bgr_coreandvrefbranch.add(gdstk.Reference(nfet_1, (66.31,166.635)))
bgr_coreandvrefbranch.add(gdstk.Reference(nfet_1, (69.63,166.635)))
bgr_coreandvrefbranch.add(gdstk.Reference(nfet_1, (91.21,162.18), x_reflection=True))
bgr_coreandvrefbranch.add(gdstk.Reference(nfet_1, (39.71,193.575), x_reflection=True))
bgr_coreandvrefbranch.add(gdstk.Reference(pnp_bjt, (68.8,124.42)))
bgr_coreandvrefbranch.add(gdstk.Reference(pnp_bjt, (75.9,124.42)))
bgr_coreandvrefbranch.add(gdstk.Reference(pnp_bjt, (75.9,131.52)))
bgr_coreandvrefbranch.add(gdstk.Reference(pnp_bjt, (68.8,131.52)))
bgr_coreandvrefbranch.add(gdstk.Reference(pnp_bjt, (83,117.32)))
bgr_coreandvrefbranch.add(gdstk.Reference(pnp_bjt, (68.8,117.32)))
bgr_coreandvrefbranch.add(gdstk.Reference(pnp_bjt, (83,124.42)))
bgr_coreandvrefbranch.add(gdstk.Reference(pnp_bjt, (75.9,117.32)))
bgr_coreandvrefbranch.add(gdstk.Reference(pnp_bjt, (83,131.52)))
bgr_coreandvrefbranch.add(gdstk.Reference(pnp_bjt, (111.4,117.32)))
bgr_coreandvrefbranch.add(gdstk.Reference(pnp_bjt, (111.4,124.42)))
bgr_coreandvrefbranch.add(gdstk.Reference(pnp_bjt, (104.3,131.52)))
bgr_coreandvrefbranch.add(gdstk.Reference(pnp_bjt, (111.4,131.52)))
bgr_coreandvrefbranch.add(gdstk.Reference(pnp_bjt, (104.3,117.32)))
bgr_coreandvrefbranch.add(gdstk.Reference(pnp_bjt, (104.3,124.42)))
bgr_coreandvrefbranch.add(gdstk.Reference(pnp_bjt, (97.2,124.42)))
bgr_coreandvrefbranch.add(gdstk.Reference(pnp_bjt, (97.2,117.32)))
bgr_coreandvrefbranch.add(gdstk.Reference(pnp_bjt, (97.2,131.52)))

lib.write_gds('BGR_coreAndVrefBranch.gds')
